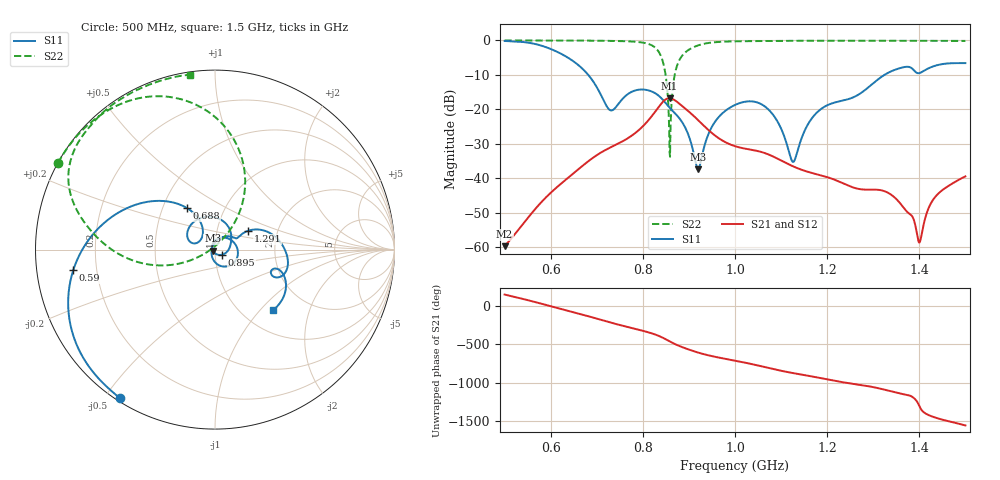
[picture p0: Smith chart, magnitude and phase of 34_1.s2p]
! TOUCHSTONE file generated by CST MICROWAVE STUDIO
! Date and time: Fri Oct  2 17:16:57 2020
! Project name: Scenario_1_Free_Space_out_of_line.cst
! Parameters = {Lambda=346.42; Step_1=17.321; dy1=-224.613; dx1=173; L_HA=400; MT=2.54; Rad_Dielectric=30; Rad_Lower=7.3; Rad_Upper=30; a_HA=580; a_WG=246; b_HA=500; b_WG=121; c_HA=0; c_WG=187; d_feed=85; h_feed=15; h_lower=18; h_upper=40}
! Header version: 2018
! Port assignment regex: !\s*Touchstone port\s*([0-9]+)\s*=\s*(CST MWS port|CST DS port)\s*([0-9]+|Zmin|Zmax)\s*\(\"(.*)\"\)(\s*mode\s*([0-9]+))?.*
! Touchstone port assignment:
! Touchstone port 1 = CST MWS port 1 ("")
! Touchstone port 2 = CST MWS port 2 ("")
# GHz S DB R 50
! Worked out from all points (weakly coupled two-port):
!   1003 points, 500 MHz to 1.5 GHz, reference 50 ohm
!   highest |S21| = -16.73 dB at 858 MHz (marker M1); lowest = -59.6 dB at 500 MHz (marker M2)
!   lowest |S11| = -37.3 dB at 920 MHz (marker M3), VSWR 1.03, Z = 48.8 - j0.583 ohm
!   |S11| at or under -10 dB: 681.6 MHz to 1.324 GHz (642.5 MHz wide, 64.1 % of centre)
!   |S22| runs from -33.7 to 0.0 dB; largest |S21 - S12| = 1.9e-05
!   S11 on the Smith chart (normalised r, x): 500 MHz: 0.01, -0.55; 590 MHz: 0.11, -0.07; 688 MHz: 0.66, +0.33; 895 MHz: 1.08, -0.06; 1.291 GHz: 1.42, +0.31; 1.5 GHz: 1.36, -1.19
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0.5  -0.15 -122.6  -59.62 151.4  -59.62 151.4  -0.01 151.2
0.59  -1.96 -171.8  -45.45 15.5  -45.45 15.5  -0.01 144.9
0.667  -7.95 137.4  -36.56 -107.2  -36.56 -107.2  -0.04 138.4
0.688  -11.09 124.0  -34.37 -142.4  -34.37 -142.4  -0.06 136.2
0.73  -20.26 142.4  -30.99 145.7  -30.99 145.7  -0.13 131.0
0.794  -14.23 128.6  -25.65 47.8  -25.65 47.8  -0.52 116.1
0.834  -15.98 69.0  -19.35 -26.9  -19.35 -26.9  -3.20 85.9
0.847  -17.73 47.5  -17.35 -63.4  -17.35 -63.4  -8.16 64.6
0.858  -19.47 31.5  -16.73 -99.0  -16.73 -99.0  -32.22 76.1
0.872  -21.43 10.8  -17.57 -141.3  -17.57 -141.3  -8.30 -167.7
0.895  -26.11 -34.7  -20.08 163.7  -20.08 163.7  -3.15 171.6
0.92  -37.32 -154.0  -23.11 113.9  -23.11 113.9  -1.43 160.2
0.952  -24.53 79.5  -27.08 64.9  -27.08 64.9  -0.57 150.0
1  -18.70 15.5  -30.64 8.4  -30.64 8.4  -0.26 140.8
1.072  -19.94 -67.5  -33.01 -85.9  -33.01 -85.9  -0.16 132.6
1.126  -35.21 167.0  -36.49 -153.7  -36.49 -153.7  -0.10 127.8
1.167  -22.54 62.5  -38.41 162.5  -38.41 162.5  -0.09 124.4
1.291  -13.42 29.5  -43.24 33.6  -43.24 33.6  -0.09 114.9
1.334  -9.26 11.8  -44.29 -24.6  -44.29 -24.6  -0.09 111.7
1.4  -9.47 -19.7  -58.59 137.3  -58.59 137.3  -0.10 106.6
1.432  -7.43 -22.9  -45.77 -9.2  -45.77 -9.2  -0.11 104.0
1.5  -6.57 -46.3  -39.41 -117.1  -39.42 -117.2  -0.14 98.1
